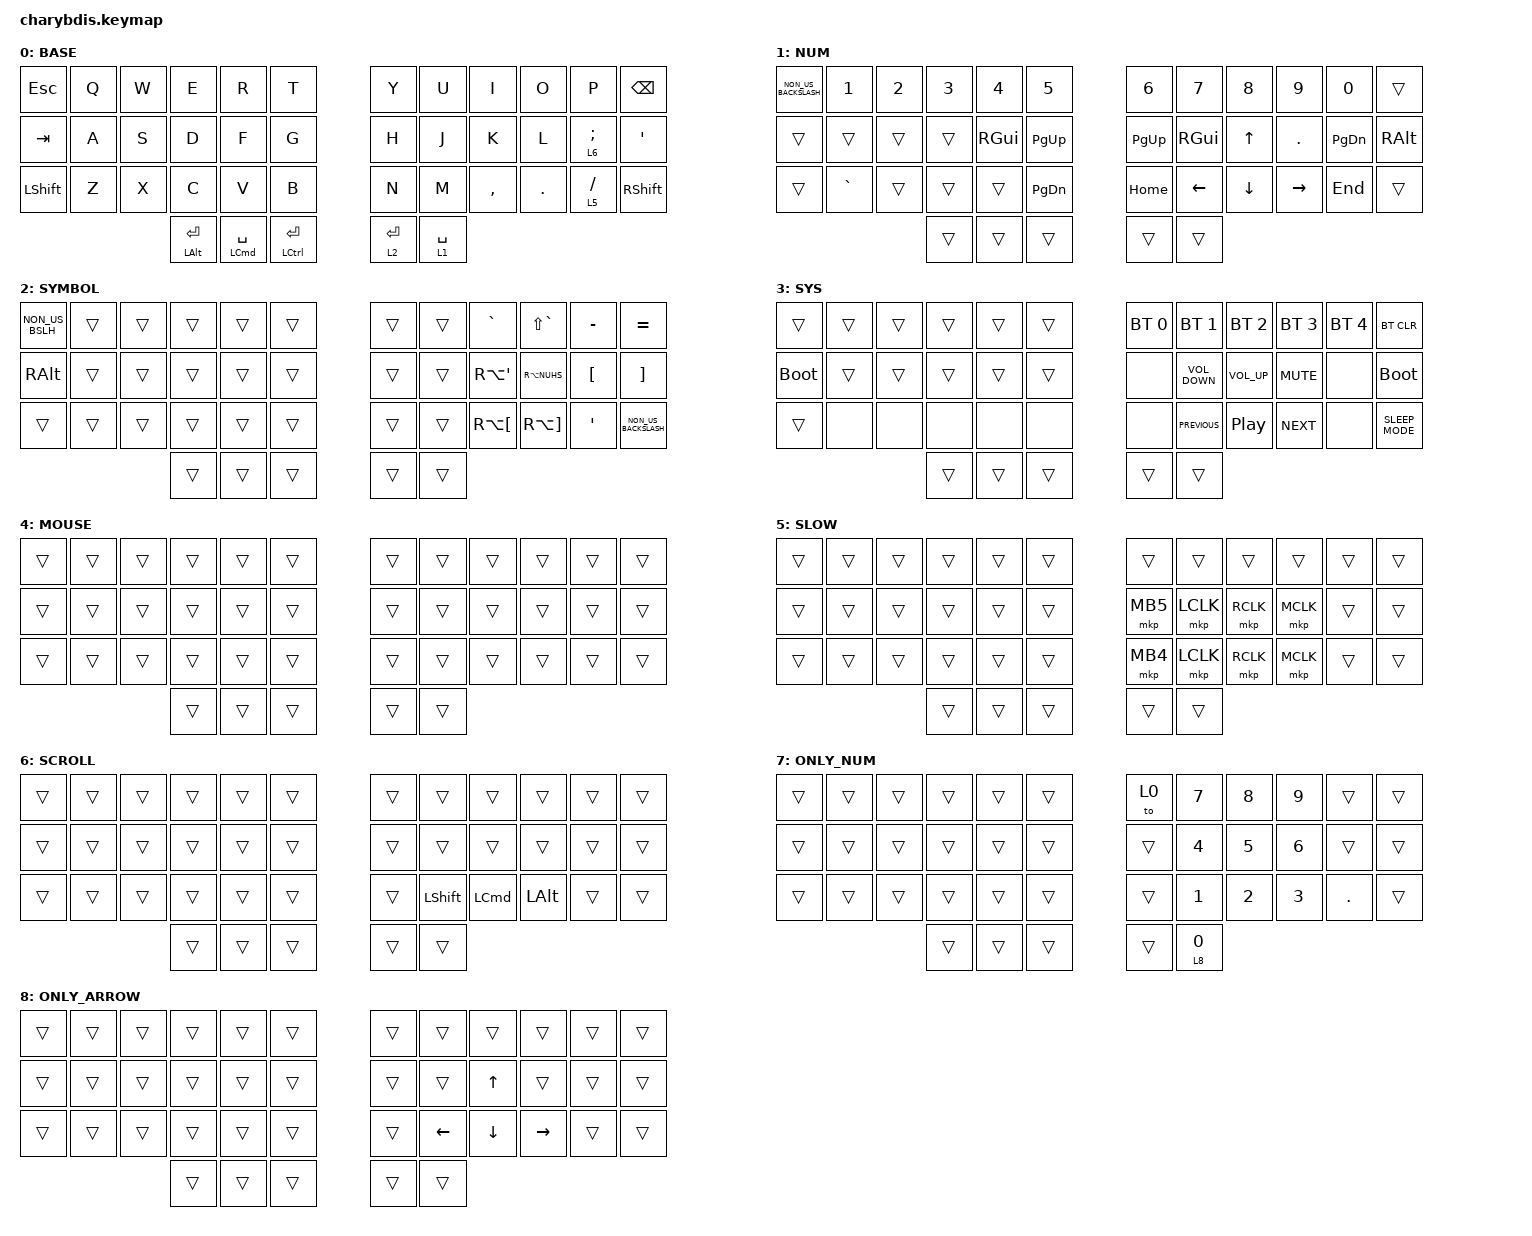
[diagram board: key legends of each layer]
#include <dt-bindings/zmk/mouse.h>
#include <behaviors/mouse_keys.dtsi>
#include <behaviors.dtsi>
#include <dt-bindings/zmk/bt.h>
#include <dt-bindings/zmk/keys.h>
#include <dt-bindings/zmk/pointing.h>

// / {
//     chosen { zmk,matrix_transform = &default_transform; };
// };

/ {
    conditional_layers {
        compatible = "zmk,conditional-layers";

        Layer_3 {
            if-layers = <1 2>;
            then-layer = <3>;
        };
    };

    /* input config for mouse move mode */

    trackball_listener {
        compatible = "zmk,input-behavior-listener";
        device = <&vtrackball>;
        layers = <0 1 2 3 4>;
        evt-type = <INPUT_EV_REL>;
        x-input-code = <INPUT_REL_X>;
        y-input-code = <INPUT_REL_Y>;
        scale-multiplier = <2>;
        scale-divisor = <3>;
        bindings = <&ib_toggle_layer 4>;
    };

    /* input config for snipe mode */

    trackball_snipe_listener {
        compatible = "zmk,input-behavior-listener";
        device = <&vtrackball>;
        layers = <5>;
        evt-type = <INPUT_EV_REL>;
        x-input-code = <INPUT_REL_X>;
        y-input-code = <INPUT_REL_Y>;
        scale-multiplier = <1>;
        scale-divisor = <4>;
    };

    /* input config for mouse scroll mode */

    trackball_scroll_listener {
        compatible = "zmk,input-behavior-listener";
        device = <&vtrackball>;
        layers = <6>;
        evt-type = <INPUT_EV_REL>;
        x-input-code = <INPUT_REL_MISC>;
        y-input-code = <INPUT_REL_WHEEL>;
        y-invert;
        bindings = <&ib_wheel_scaler 1 16>;
    };

    /* define a resolution down scaler only for INPUT_REL_WHEEL */

    ib_wheel_scaler: ib_wheel_scaler {
        compatible = "zmk,input-behavior-scaler";
        #binding-cells = <2>;
        evt-type = <INPUT_EV_REL>;
        input-code = <INPUT_REL_WHEEL>;
    };

    /* adjust cooldown waiting period for mouse key layer after activated */

    ib_toggle_layer: ib_toggle_layer {
        compatible = "zmk,input-behavior-tog-layer";
        #binding-cells = <1>;
        time-to-live-ms = <750>;
    };

    behaviors {
        hm: homerow_mod {
            compatible = "zmk,behavior-hold-tap";
            #binding-cells = <2>;
            flavor = "tap-preferred";
            tapping-term-ms = <175>; // triggers the hold behavior when the tapping-term-ms has expired
            quick-tap-ms = <150>; // If you press a tapped hold-tap again within quick-tap-ms milliseconds of the first press, it will always trigger the tap behavior.
            require-prior-idle-ms = <185>; // like quick-tap-ms however it will apply for any non-modifier key pressed before it
            bindings = <&kp>, <&kp>;

            // hold, tap
        };

        td_cursor: td_scroll_or_cursor {
            compatible = "zmk,behavior-tap-dance";
            #binding-cells = <0>;
            bindings = <&lt 6 ESC>, <&to 5>;

            // hold, tap, double_tap
        };

        httl: ht_two_layers {
            compatible = "zmk,behavior-hold-tap";
            bindings = <&mo>, <&to>;

            #binding-cells = <2>;
            flavor = "balanced";
            tapping-term-ms = <125>;
        };

        td_layers: td_layer_swap {
            compatible = "zmk,behavior-tap-dance";
            #binding-cells = <0>;
            bindings = <&to 0>, <&to 1>, <&to 2>;

            // tap, double_tap, tripple_tap
        };

        td_clk_scrl: td_click_or_scroll {
            compatible = "zmk,behavior-tap-dance";
            #binding-cells = <0>;
            tapping-term-ms = <250>;
            bindings = <&mkp RCLK>, <&mo 6>;

            // tap/hold, double_tap
        };

        td_bore: BASE_or_EXTRA {
            compatible = "zmk,behavior-tap-dance";
            #binding-cells = <0>;
            bindings = <&mo 0>, <&to 0>;
        };
    };

    combos {
        compatible = "zmk,combos";

        CapsWord {
            bindings = <&caps_word>;
            key-positions = <17 18>;
            layers = <0>;
        };

        MiddleClick {
            bindings = <&mkp MCLK>;
            key-positions = <33 34>;
        };

        RightClick {
            bindings = <&mkp RCLK>;
            key-positions = <32 33>;
        };

        BASE_or_EXTRAS {
            bindings = <&td_bore>;
            key-positions = <38 39>;
        };

        LeftClick1 {
            bindings = <&mkp LCLK>;
            key-positions = <32 31>;
        };

        LeftClick2 {
            bindings = <&mkp LCLK>;
            key-positions = <19 20>;
        };

        BackClick {
            bindings = <&mkp MB4>;
            key-positions = <31 30>;
        };

        ForwardClick {
            bindings = <&mkp MB5>;
            key-positions = <18 19>;
        };

        ctrl-alt-sup {
            bindings = <&kp LC(LA(DELETE))>;
            key-positions = <9 10 11>;
        };

        CapsLock {
            bindings = <&kp CAPSLOCK>;
            key-positions = <29 30>;
        };

        OnlyNumToggle {
            bindings = <&tog 7>;
            key-positions = <23 22 21>;
        };

        Cond_layer_num_only {
            bindings = <&mo 7>;
            key-positions = <14 15 16>;
        };

        OnlyNumToggle2 {
            bindings = <&tog 7>;
            key-positions = <31 32 33>;
        };
    };

    // ╭──────┬──────┬──────┬──────┬──────┬──────╮  ╭──────┬──────┬──────┬──────┬──────┬──────╮
    //    00     01     02     03    04      05        06     07     08     09     10     11
    // ├──────┼──────┼──────┼──────┼──────┼──────┤  ├──────┼──────┼──────┼──────┼──────┼──────┤
    //    12     13     14     15    16      17        18     19     20     21     22     23
    // ├──────┼──────┼──────┼──────┼──────┼──────┤  ├──────┼──────┼──────┼──────┼──────┼──────┤
    //    24     25     26     27    28      29        30     31     32     33     34     35
    // ╰──────┴──────┴──────┼──────┼──────┼──────┤  ├──────┼──────┼──────┴──────┴──────┴──────╯
    //                         36     37     38        39     40
    //                      ╰──────┴──────┴──────╯  ╰──────┴──────╯
    // #define BASE    0
    // #define NUM     1
    // #define NAV     2
    // #define SYM     3
    // #define MOUSE   4
    // #define SLOW    5
    // #define SCROLL  6

    keymap {
        compatible = "zmk,keymap";

        BASE {
            bindings = <
&kp ESC         &kp Q  &kp W  &kp E               &kp R           &kp T                     &kp Y        &kp U        &kp I      &kp O    &kp P            &kp BACKSPACE
&kp TAB         &kp A  &kp S  &kp D               &kp F           &kp G                     &kp H        &kp J        &kp K      &kp L    &lt 6 SEMICOLON  &kp SQT
&kp LEFT_SHIFT  &kp Z  &kp X  &kp C               &kp V           &kp B                     &kp N        &kp M        &kp COMMA  &kp DOT  &lt 5 FSLH       &kp RIGHT_SHIFT
                              &hm LEFT_ALT ENTER  &hm LCMD SPACE  &hm LEFT_CONTROL ENTER    &lt 2 ENTER  &lt 1 SPACE
            >;
        };

        NUM {
            bindings = <
&kp NON_US_BACKSLASH  &kp N1     &kp N2  &kp N3  &kp N4    &kp N5           &kp N6       &kp N7          &kp N8          &kp N9           &kp N0         &trans
&trans                &trans     &trans  &trans  &kp RGUI  &kp PAGE_UP      &kp PAGE_UP  &kp RIGHT_GUI   &kp UP_ARROW    &kp PERIOD       &kp PAGE_DOWN  &kp RIGHT_ALT
&trans                &kp GRAVE  &trans  &trans  &trans    &kp PAGE_DOWN    &kp HOME     &kp LEFT_ARROW  &kp DOWN_ARROW  &kp RIGHT_ARROW  &kp END        &trans
                                         &trans  &trans    &trans           &trans       &trans
            >;
        };

        SYMBOL {
            bindings = <
&kp NON_US_BSLH  &trans  &trans  &trans  &trans  &trans    &trans  &trans  &kp GRAVE     &kp LS(GRAVE)  &kp MINUS  &kp EQUAL
&kp RIGHT_ALT    &trans  &trans  &trans  &trans  &trans    &trans  &trans  &kp RA(APOS)  &kp RA(NUHS)   &kp LBKT   &kp RBKT
&trans           &trans  &trans  &trans  &trans  &trans    &trans  &trans  &kp RA(LBKT)  &kp RA(RBKT)   &kp SQT    &kp NON_US_BACKSLASH
                                 &trans  &trans  &trans    &trans  &trans
            >;
        };

        SYS {
            bindings = <
&trans       &trans  &trans  &trans  &trans  &trans    &bt BT_SEL 0  &bt BT_SEL 1       &bt BT_SEL 2      &bt BT_SEL 3  &bt BT_SEL 4  &bt BT_CLR
&bootloader  &trans  &trans  &trans  &trans  &trans    &none         &kp C_VOLUME_DOWN  &kp C_VOLUME_UP   &kp C_MUTE    &none         &bootloader
&trans       &none   &none   &none   &none   &none     &none         &kp C_PREVIOUS     &kp C_PLAY_PAUSE  &kp C_NEXT    &none         &kp C_SLEEP_MODE
                             &trans  &trans  &trans    &trans        &trans
            >;
        };

        MOUSE {
            bindings = <
&trans  &trans  &trans  &trans  &trans  &trans    &trans  &trans  &trans  &trans  &trans  &trans
&trans  &trans  &trans  &trans  &trans  &trans    &trans  &trans  &trans  &trans  &trans  &trans
&trans  &trans  &trans  &trans  &trans  &trans    &trans  &trans  &trans  &trans  &trans  &trans
                        &trans  &trans  &trans    &trans  &trans
            >;
        };

        SLOW {
            bindings = <
&trans  &trans  &trans  &trans  &trans  &trans    &trans    &trans     &trans     &trans     &trans  &trans
&trans  &trans  &trans  &trans  &trans  &trans    &mkp MB5  &mkp LCLK  &mkp RCLK  &mkp MCLK  &trans  &trans
&trans  &trans  &trans  &trans  &trans  &trans    &mkp MB4  &mkp LCLK  &mkp RCLK  &mkp MCLK  &trans  &trans
                        &trans  &trans  &trans    &trans    &trans
            >;
        };

        SCROLL {
            bindings = <
&trans  &trans  &trans  &trans  &trans  &trans    &trans  &trans          &trans    &trans        &trans  &trans
&trans  &trans  &trans  &trans  &trans  &trans    &trans  &trans          &trans    &trans        &trans  &trans
&trans  &trans  &trans  &trans  &trans  &trans    &trans  &kp LEFT_SHIFT  &kp LCMD  &kp LEFT_ALT  &trans  &trans
                        &trans  &trans  &trans    &trans  &trans
            >;
        };

        ONLY_NUM {
            bindings = <
&trans  &trans  &trans  &trans  &trans  &trans    &to 0   &kp N7        &kp N8        &kp N9        &trans      &trans
&trans  &trans  &trans  &trans  &trans  &trans    &trans  &kp NUMBER_4  &kp N5        &kp NUMBER_6  &trans      &trans
&trans  &trans  &trans  &trans  &trans  &trans    &trans  &kp NUMBER_1  &kp NUMBER_2  &kp NUMBER_3  &kp PERIOD  &trans
                        &trans  &trans  &trans    &trans  &lt 8 N0
            >;
        };

        ONLY_ARROW {
            bindings = <
&trans  &trans  &trans  &trans  &trans  &trans    &trans  &trans          &trans          &trans           &trans  &trans
&trans  &trans  &trans  &trans  &trans  &trans    &trans  &trans          &kp UP_ARROW    &trans           &trans  &trans
&trans  &trans  &trans  &trans  &trans  &trans    &trans  &kp LEFT_ARROW  &kp DOWN_ARROW  &kp RIGHT_ARROW  &trans  &trans
                        &trans  &trans  &trans    &trans  &trans
            >;
        };
    };
};
